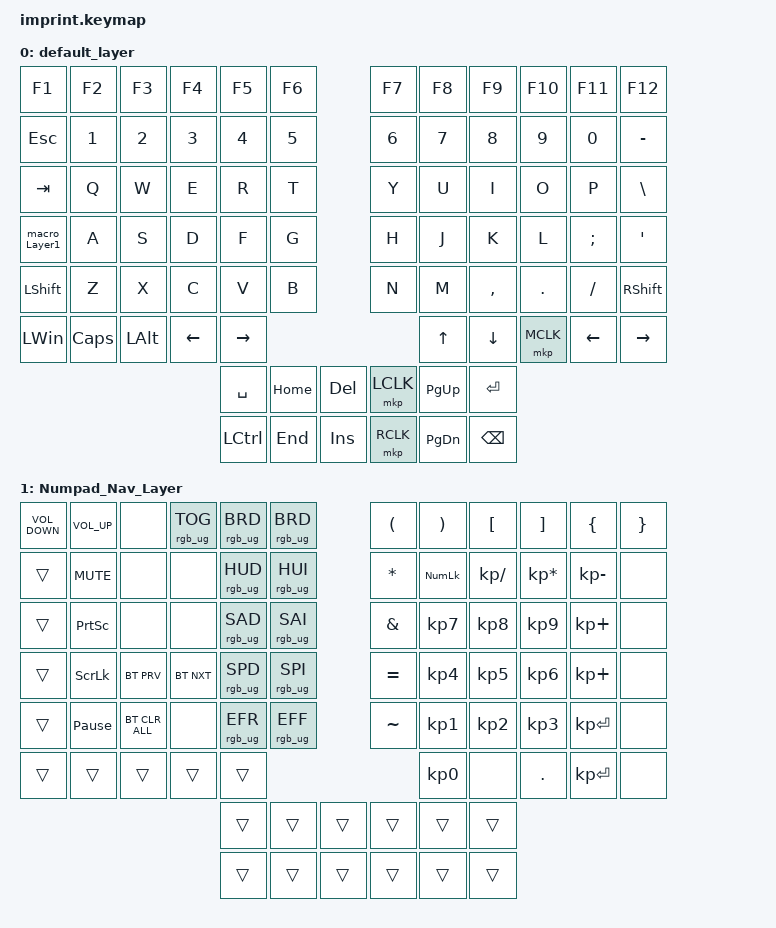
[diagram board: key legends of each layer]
#include <input/processors.dtsi>
#include <dt-bindings/zmk/input_transform.h>
#include <behaviors.dtsi>
#include <dt-bindings/zmk/bt.h>
#include <dt-bindings/zmk/keys.h>
#include <dt-bindings/zmk/pointing.h>
#include <dt-bindings/zmk/rgb.h>

/ {
    chosen { zmk,matrix-transform = &imprint_function_row_full_bottom_row; };

    macros {
        macro_Layer1: macro_Layer1 {
            compatible = "zmk,behavior-macro";
            #binding-cells = <0>;
            bindings =
                <&macro_press &mo 1>,
                <&macro_tap &rgb_ug RGB_COLOR_HSB(210,94,53) &rgb_ug RGB_ON>,
                <&macro_pause_for_release>,
                <&macro_release &mo 1>,
                <&macro_tap &rgb_ug RGB_OFF>;

            label = "macro_Layer1";
            wait-ms = <0>;
            tap-ms = <0>;
        };
    };

    keymap {
        compatible = "zmk,keymap";

        default_layer {
            bindings = <
&kp F1         &kp F2    &kp F3        &kp F4    &kp F5     &kp F6                  &kp F7     &kp F8         &kp F9         &kp F10    &kp F11   &kp F12
&kp ESCAPE     &kp N1    &kp N2        &kp N3    &kp N4     &kp N5                  &kp N6     &kp N7         &kp N8         &kp N9     &kp N0    &kp MINUS
&kp TAB        &kp Q     &kp W         &kp E     &kp R      &kp T                   &kp Y      &kp U          &kp I          &kp O      &kp P     &kp BSLH
&macro_Layer1  &kp A     &kp S         &kp D     &kp F      &kp G                   &kp H      &kp J          &kp K          &kp L      &kp SEMI  &kp SQT
&kp LSHFT      &kp Z     &kp X         &kp C     &kp V      &kp B                   &kp N      &kp M          &kp COMMA      &kp DOT    &kp FSLH  &kp RSHFT
&kp LEFT_WIN   &kp CAPS  &kp LEFT_ALT  &kp LEFT  &kp RIGHT                                     &kp UP         &kp DOWN       &mkp MCLK  &kp LEFT  &kp RIGHT
                                                 &kp SPACE  &kp HOME  &kp DELETE    &mkp LCLK  &kp PAGE_UP    &kp ENTER
                                                 &kp LCTRL  &kp END   &kp INSERT    &mkp RCLK  &kp PAGE_DOWN  &kp BACKSPACE
            >;
        };

        Numpad_Nav_Layer {
            bindings = <
&kp C_VOLUME_DOWN  &kp C_VOLUME_UP  &none           &rgb_ug RGB_TOG  &rgb_ug RGB_BRD  &rgb_ug RGB_BRD            &kp LEFT_PARENTHESIS  &kp RIGHT_PARENTHESIS  &kp LEFT_BRACKET  &kp RIGHT_BRACKET  &kp LEFT_BRACE  &kp RIGHT_BRACE
&trans             &kp K_MUTE       &none           &none            &rgb_ug RGB_HUD  &rgb_ug RGB_HUI            &kp ASTERISK          &kp KP_NUMLOCK         &kp KP_DIVIDE     &kp KP_ASTERISK    &kp KP_MINUS    &none
&trans             &kp PRINTSCREEN  &none           &none            &rgb_ug RGB_SAD  &rgb_ug RGB_SAI            &kp AMPERSAND         &kp KP_NUMBER_7        &kp KP_NUMBER_8   &kp KP_NUMBER_9    &kp KP_PLUS     &none
&trans             &kp SCROLLLOCK   &bt BT_PRV      &bt BT_NXT       &rgb_ug RGB_SPD  &rgb_ug RGB_SPI            &kp EQUAL             &kp KP_NUMBER_4        &kp KP_NUMBER_5   &kp KP_NUMBER_6    &kp KP_PLUS     &none
&trans             &kp PAUSE_BREAK  &bt BT_CLR_ALL  &none            &rgb_ug RGB_EFR  &rgb_ug RGB_EFF            &kp TILDE             &kp KP_NUMBER_1        &kp KP_NUMBER_2   &kp KP_NUMBER_3    &kp KP_ENTER    &none
&trans             &trans           &trans          &trans           &trans                                                            &kp KP_NUMBER_0        &none             &kp DOT            &kp KP_ENTER    &none
                                                                     &trans           &trans           &trans    &trans                &trans                 &trans
                                                                     &trans           &trans           &trans    &trans                &trans                 &trans
            >;
        };
    };
};

// right hand trackball configuration

&trackball_peripheral_listener {
    input-processors = <&zip_xy_scaler 4 5>;

    //     activate layer 3 within 500ms of the trackball moving
    //     <&zip_temp_layer 3 500>;
};

//left hand trackball configuration

&trackball_central_listener {
    input-processors =
        // multiply sensitivity by 1, divide by 3 (make it slower for scrolling),,,,,
        <&zip_xy_scaler 1 16>,
        // make this trackball output scrolling events by default instead of cursor movement,,,,,
        <&zip_xy_to_scroll_mapper>,
        // invert vertical scrolling so that the view moves in the same direction as the top of the trackball.,,,,,
        <&zip_scroll_transform INPUT_TRANSFORM_Y_INVERT>;
};
